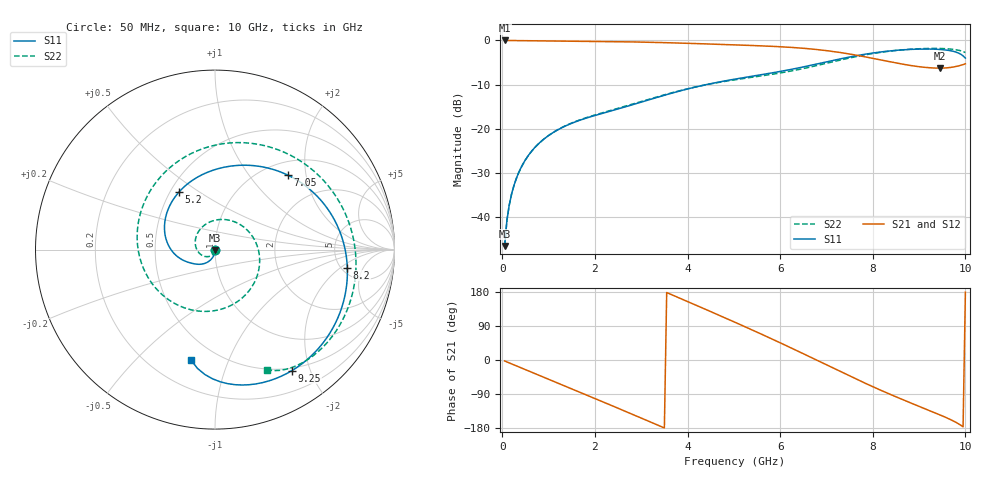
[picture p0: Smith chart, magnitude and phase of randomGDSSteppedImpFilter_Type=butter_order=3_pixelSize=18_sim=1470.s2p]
! freq	dB(S11)	phase(S11)	dB(S12)	phase(S12)
!  dB(S21)	phase(S21)	dB(S22)	phase(S22)
!S-par simulation data
#  GHz  S  DB  R 50
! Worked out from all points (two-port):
!   200 points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, 50 MHz to 10 GHz, reference 50 ohm
!   highest |S21| = 0.00 dB at 50 MHz (marker M1); lowest = -6.3 dB at 9.45 GHz (marker M2)
!   |S21| within 3 dB of the highest: start of sweep to 7.461 GHz
!   lowest |S11| = -46.5 dB at 50 MHz (marker M3), VSWR 1.01, Z = 50 - j0.474 ohm
!   |S11| at or under -10 dB: start of sweep to 4.398 GHz
!   |S22| runs from -46.5 to -1.8 dB; largest |S21 - S12| = 0
!   S11 on the Smith chart (normalised r, x): 50 MHz: 1.00, -0.01; 5.2 GHz: 0.56, +0.42; 7.05 GHz: 1.26, +1.58; 8.2 GHz: 5.65, -2.53; 9.25 GHz: 0.46, -1.72; 10 GHz: 0.36, -0.74
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0.05  -46.49 -89.4  -0.00 -2.6  -0.00 -2.6  -46.52 -90.6
0.1  -40.65 -91.5  -0.01 -5.1  -0.01 -5.1  -40.69 -95.1
0.2  -34.76 -95.7  -0.02 -10.2  -0.02 -10.2  -34.78 -103.3
0.5  -26.98 -106.4  -0.04 -25.5  -0.04 -25.5  -27.01 -125.4
1.15  -20.49 -126.1  -0.11 -58.4  -0.11 -58.4  -20.46 -172.8
1.75  -17.77 -141.0  -0.18 -88.9  -0.18 -88.9  -17.68 140.9
2.5  -15.49 -155.7  -0.28 -127.3  -0.28 -127.3  -15.34 79.1
3.4  -12.70 -175.5  -0.47 -174.1  -0.47 -174.1  -12.59 6.2
4.15  -10.59 161.3  -0.70 146.4  -0.70 146.4  -10.57 -49.1
5.05  -8.70 127.7  -1.01 98.2  -1.01 98.2  -8.85 -111.7
5.2  -8.43 121.8  -1.07 90.0  -1.07 90.0  -8.62 -122.2
6  -7.01 89.9  -1.42 45.4  -1.42 45.4  -7.36 179.7
6.7  -5.54 61.1  -1.96 4.8  -1.96 4.8  -5.90 126.4
7.05  -4.73 45.8  -2.37 -15.8  -2.37 -15.8  -5.04 100.0
7.6  -3.55 20.6  -3.26 -47.9  -3.26 -47.9  -3.74 61.0
8.2  -2.57 -7.7  -4.46 -81.3  -4.46 -81.3  -2.65 23.2
8.35  -2.39 -14.8  -4.78 -89.3  -4.78 -89.3  -2.44 14.6
8.8  -2.03 -36.1  -5.64 -112.3  -5.64 -112.3  -2.00 -9.4
9.25  -1.95 -57.6  -6.20 -134.6  -6.20 -134.6  -1.80 -31.2
9.45  -2.04 -67.7  -6.26 -144.7  -6.26 -144.7  -1.82 -40.5
9.75  -2.49 -84.5  -5.99 -161.5  -5.99 -161.5  -2.03 -54.5
10  -4.00 -102.2  -5.28 178.9  -5.28 178.9  -2.74 -66.6
